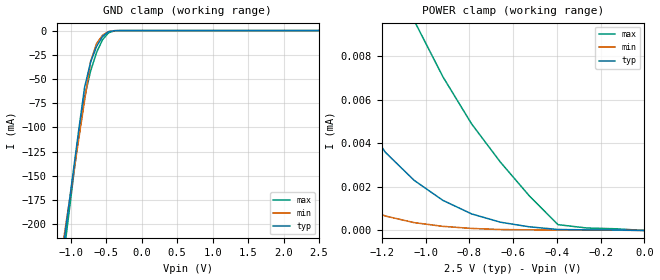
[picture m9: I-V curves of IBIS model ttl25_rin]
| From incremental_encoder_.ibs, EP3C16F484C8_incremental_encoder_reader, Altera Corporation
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[Model] ttl25_rin
Model_type Input
Polarity   Non-Inverting
Vinl  = 0.7V
Vinh  = 1.7V
C_comp  4.4pF   4.4pF   4.4pF
[Temperature Range] 25   85   0
[Voltage Range]   2.5   2.325   2.625
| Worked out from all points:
|   GND clamp passes 1 mA (typ) near -0.45 V on its own axis
[GND Clamp]
| voltage   I (typ)   I (min)   I (max)
-2.5V     -1.003A    -896.6mA   -1.061A
-1.144V   -246.2mA   -237.3mA   -259.1mA
-1.059V   -198.9mA   -196.1mA   -209mA
-974.6mV  -151.6mA   -154.9mA   -158.9mA
-889.8mV  -104.3mA   -113.6mA   -108.8mA
-805.1mV  -58.87mA   -72.41mA   -68.82mA
-720.3mV  -32.71mA   -32.28mA   -41.9mA
-635.6mV  -16.39mA   -13.32mA   -22.54mA
-550.8mV  -6.002mA   -4.742mA   -9.332mA
-466.1mV  -1.153mA   -978.7uA   -2.246mA
-296.6mV  -4.671uA   -8.865uA   -9.476uA
2.5V      0A         0A         0A
[POWER Clamp]
| voltage   I (typ)   I (min)   I (max)
-2.5V     124.2uA    71.4uA     182.5uA
-1.842V   22.83uA    9.323uA    54.47uA
-1.71V    16.91uA    6.328uA    36.85uA
-1.579V   12.15uA    3.972uA    28.84uA
-1.447V   8.324uA    2.282uA    22.32uA
-1.316V   5.498uA    1.229uA    16.96uA
-1.184V   3.593uA    664.1nA    12.8uA
-1.053V   2.304uA    360.8nA    9.644uA
-789.5mV  760.1nA    93.71nA    4.89uA
-526.3mV  168.2nA    28.96nA    1.594uA
-394.7mV  45.58nA    23.7nA     267.4nA
0V        0A         0A         0A
